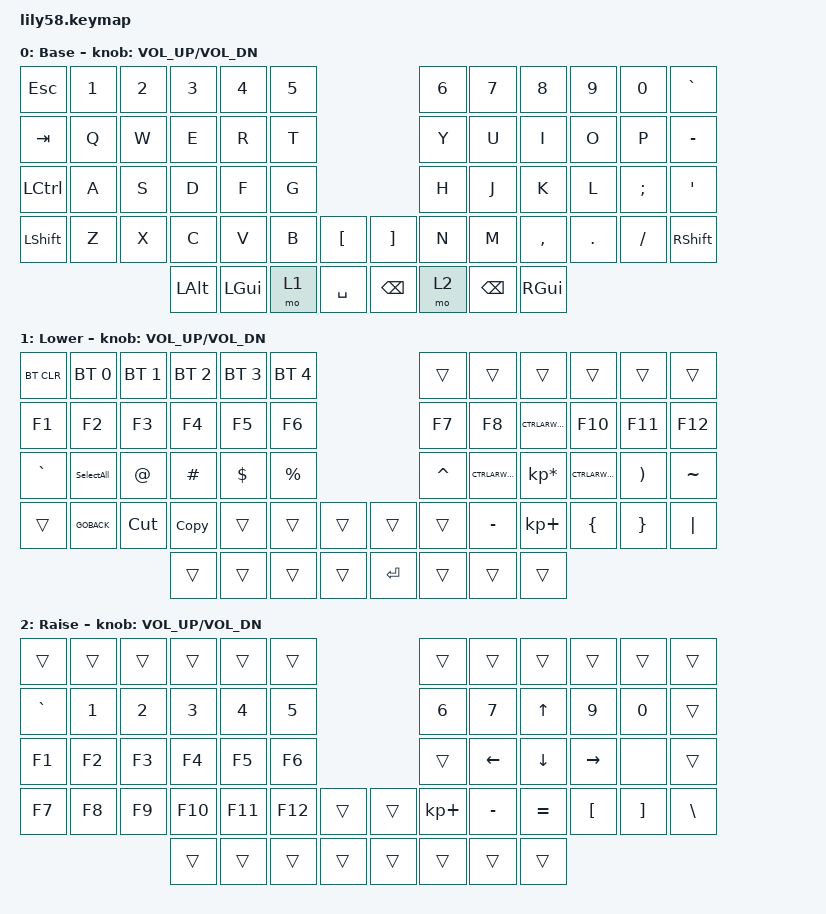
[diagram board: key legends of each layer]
/*
 * Copyright (c) 2020 The ZMK Contributors
 *
 * SPDX-License-Identifier: MIT
 */

#include <behaviors.dtsi>
#include <dt-bindings/zmk/bt.h>
#include <dt-bindings/zmk/keys.h>

/ {
    macros {
        CTRLARWUP: CTRLARWUP {
            compatible = "zmk,behavior-macro";
            #binding-cells = <0>;
            bindings = <&kp LC(UP_ARROW)>;
            label = "CTRLARWUP";
        };

        CTRLARWLEFT: CTRLARWLEFT {
            compatible = "zmk,behavior-macro";
            #binding-cells = <0>;
            bindings = <&kp LC(LEFT)>;
            label = "CTRLARWLEFT";
        };

        CTRLARWRIGHT: CTRLARWRIGHT {
            compatible = "zmk,behavior-macro";
            #binding-cells = <0>;
            bindings = <&kp LC(RIGHT)>;
            label = "CTRLARWRIGHT";
        };

        SelectAll: SelectAll {
            compatible = "zmk,behavior-macro";
            #binding-cells = <0>;
            bindings = <&kp LG(A)>;
            label = "SELECTALL";
        };

        Cut: Cut {
            compatible = "zmk,behavior-macro";
            #binding-cells = <0>;
            bindings = <&kp LG(X)>;
            label = "CUT";
        };

        Copy: Copy {
            compatible = "zmk,behavior-macro";
            #binding-cells = <0>;
            bindings = <&kp LG(C)>;
            label = "COPY";
        };

        GOBACK: GOBACK {
            compatible = "zmk,behavior-macro";
            #binding-cells = <0>;
            bindings = <&kp LG(Z)>;
            label = "GOBACK";
        };
    };

    keymap {
        compatible = "zmk,keymap";

        default_layer {
            // ------------------------------------------------------------------------------------------------------------
            // |  ESC  |  1  |  2  |  3   |  4   |  5   |                   |  6   |  7    |  8    |  9   |   0   |   `   |
            // |  TAB  |  Q  |  W  |  E   |  R   |  T   |                   |  Y   |  U    |  I    |  O   |   P   |   -   |
            // |  CTRL |  A  |  S  |  D   |  F   |  G   |                   |  H   |  J    |  K    |  L   |   ;   |   '   |
            // | SHIFT |  Z  |  X  |  C   |  V   |  B   |   "["  |  |  "]"  |  N   |  M    |  ,    |  .   |   /   | SHIFT |
            //                     | ALT  | GUI  | LOWER|  SPACE |  | ENTER | RAISE| BSPC  | GUI   |

            display-name = "Base";
            bindings = <
&kp ESC    &kp N1  &kp N2  &kp N3    &kp N4    &kp N5                              &kp N6  &kp N7    &kp N8     &kp N9   &kp N0    &kp GRAVE
&kp TAB    &kp Q   &kp W   &kp E     &kp R     &kp T                               &kp Y   &kp U     &kp I      &kp O    &kp P     &kp MINUS
&kp LCTRL  &kp A   &kp S   &kp D     &kp F     &kp G                               &kp H   &kp J     &kp K      &kp L    &kp SEMI  &kp SQT
&kp LSHFT  &kp Z   &kp X   &kp C     &kp V     &kp B   &kp LBKT     &kp RBKT       &kp N   &kp M     &kp COMMA  &kp DOT  &kp FSLH  &kp RSHFT
                           &kp LALT  &kp LGUI  &mo 1   &kp SPACE    &kp BACKSPACE  &mo 2   &kp BSPC  &kp RGUI
            >;

            sensor-bindings = <&inc_dec_kp C_VOL_UP C_VOL_DN>;
        };

        lower_layer {
            // ------------------------------------------------------------------------------------------------------------
            // | BTCLR | BT1 | BT2 |  BT3 |  BT4 |  BT5 |                   |      |       |       |      |       |       |
            // |  F1   |  F2 |  F3 |  F4  |  F5  |  F6  |                   |  F7  |  F8   |  F9   |  F10 |  F11  |  F12  |
            // |   `   |  !  |  @  |  #   |  $   |  %   |                   |  ^   |  &    |  *    |  (   |   )   |   ~   |
            // |       |     |     |      |      |      |        |  |       |      |  _    |  +    |  {   |   }   |  "|"  |
            //                     |      |      |      |        |  |       |      |       |       |

            display-name = "Lower";
            bindings = <
&bt BT_CLR  &bt BT_SEL 0  &bt BT_SEL 1  &bt BT_SEL 2  &bt BT_SEL 3  &bt BT_SEL 4                       &trans     &trans        &trans           &trans         &trans    &trans
&kp F1      &kp F2        &kp F3        &kp F4        &kp F5        &kp F6                             &kp F7     &kp F8        &CTRLARWUP       &kp F10        &kp F11   &kp F12
&kp GRAVE   &SelectAll    &kp AT        &kp HASH      &kp DOLLAR    &kp PRCNT                          &kp CARET  &CTRLARWLEFT  &kp KP_MULTIPLY  &CTRLARWRIGHT  &kp RPAR  &kp TILDE
&trans      &GOBACK       &Cut          &Copy         &trans        &trans        &trans    &trans     &trans     &kp MINUS     &kp KP_PLUS      &kp LBRC       &kp RBRC  &kp PIPE
                                        &trans        &trans        &trans        &trans    &kp ENTER  &trans     &trans        &trans
            >;

            sensor-bindings = <&inc_dec_kp C_VOL_UP C_VOL_DN>;
        };

        raise_layer {
            // ------------------------------------------------------------------------------------------------------------
            // |       |     |     |      |      |      |                   |      |       |       |      |       |       |
            // |   `   |  1  |  2  |  3   |  4   |  5   |                   |  6   |   7   |   8   |  9   |   0   |       |
            // |   F1  |  F2 |  F3 |  F4  |  F5  |  F6  |                   |      |   <-  |   v   |  ^   |  ->   |       |
            // |   F7  |  F8 |  F9 |  F10 |  F11 |  F12 |        |  |       |  +   |   -   |   =   |  [   |   ]   |   \   |
            //                     |      |      |      |        |  |       |      |       |       |

            display-name = "Raise";
            bindings = <
&trans     &trans  &trans  &trans   &trans   &trans                     &trans       &trans     &trans        &trans           &trans    &trans
&kp GRAVE  &kp N1  &kp N2  &kp N3   &kp N4   &kp N5                     &kp N6       &kp N7     &kp UP_ARROW  &kp N9           &kp N0    &trans
&kp F1     &kp F2  &kp F3  &kp F4   &kp F5   &kp F6                     &trans       &kp LEFT   &kp DOWN      &kp RIGHT_ARROW  &none     &trans
&kp F7     &kp F8  &kp F9  &kp F10  &kp F11  &kp F12  &trans    &trans  &kp KP_PLUS  &kp MINUS  &kp EQUAL     &kp LBKT         &kp RBKT  &kp BSLH
                           &trans   &trans   &trans   &trans    &trans  &trans       &trans     &trans
            >;

            sensor-bindings = <&inc_dec_kp C_VOL_UP C_VOL_DN>;
        };

        extra_1 { status = "reserved"; };

        extra_2 { status = "reserved"; };

        extra_3 { status = "reserved"; };
    };
};
